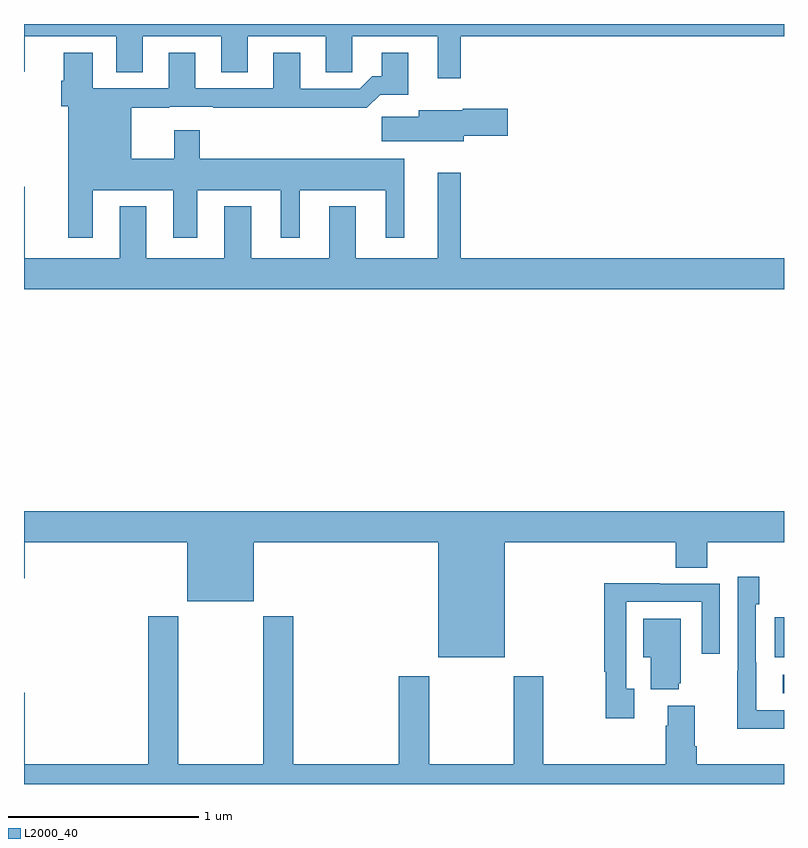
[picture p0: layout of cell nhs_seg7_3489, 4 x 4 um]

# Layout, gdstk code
import gdstk
lib = gdstk.Library(unit=1e-6, precision=1e-09)
def R(c, l, rs):  # rectangles x0, y0, x1, y1
    for r in rs: c.add(gdstk.rectangle(r[:2], r[2:], *l))
def P(c, l, *ps):  # polygons
    for p in ps: c.add(gdstk.Polygon(p, *l))
L2000_40 = (2000, 40)

nhs_seg7_3489 = lib.new_cell('nhs_seg7_3489')
R(nhs_seg7_3489, L2000_40, [(336.993,1010.478,337,1010.574), (336.95,1010.666,337,1010.878)])
P(nhs_seg7_3489, L2000_40, [(333,1013.748),(333.004,1013.748),(333.004,1013.936),(333.485,1013.936),(333.485,1013.746),(333.625,1013.746),(333.625,1013.936),(334.037,1013.936),(334.037,1013.746),(334.177,1013.746),(334.177,1013.936),(334.589,1013.936),(334.589,1013.746),(334.728,1013.746),(334.728,1013.936),(335.177,1013.936),(335.177,1013.715),(335.299,1013.715),(335.299,1013.936),(337,1013.936),(337,1014),(333,1014)],
  [(333.361,1013.126),(333.785,1013.126),(333.785,1012.875),(333.913,1012.875),(333.913,1013.126),(334.352,1013.126),(334.352,1012.875),(334.45,1012.875),(334.45,1013.126),(334.904,1013.126),(334.904,1012.875),(335.002,1012.875),(335.002,1013.29),(333.926,1013.29),(333.926,1013.44),(333.791,1013.44),(333.791,1013.29),(333.565,1013.29),(333.565,1013.56),(333.765,1013.56),(333.765,1013.565),(333.997,1013.565),(333.997,1013.56),(334.549,1013.56),(334.549,1013.558),(334.805,1013.558),(334.874,1013.627),(335.023,1013.627),(335.023,1013.848),(334.883,1013.848),(334.883,1013.725),(334.834,1013.725),(334.767,1013.658),(334.453,1013.658),(334.453,1013.848),(334.313,1013.848),(334.313,1013.661),(333.901,1013.661),(333.901,1013.848),(333.761,1013.848),(333.761,1013.661),(333.361,1013.661),(333.361,1013.848),(333.209,1013.848),(333.209,1013.702),(333.197,1013.702),(333.197,1013.568),(333.233,1013.568),(333.233,1012.875),(333.361,1012.875)],
  [(335.314,1013.411),(335.545,1013.411),(335.545,1013.553),(335.31,1013.553),(335.31,1013.545),(335.078,1013.545),(335.078,1013.513),(334.884,1013.513),(334.884,1013.384),(335.314,1013.384)],
  [(337,1012.768),(335.299,1012.768),(335.299,1013.218),(335.177,1013.218),(335.177,1012.768),(334.747,1012.768),(334.747,1013.041),(334.607,1013.041),(334.607,1012.768),(334.195,1012.768),(334.195,1013.041),(334.055,1013.041),(334.055,1012.768),(333.643,1012.768),(333.643,1013.041),(333.503,1013.041),(333.503,1012.768),(333.004,1012.768),(333.004,1013.143),(333,1013.143),(333,1012.604),(337,1012.604)],
  [(335.53,1011.272),(336.431,1011.272),(336.431,1011.139),(336.596,1011.139),(336.596,1011.272),(337,1011.272),(337,1011.436),(333,1011.436),(333,1011.084),(333.004,1011.084),(333.004,1011.272),(333.86,1011.272),(333.86,1010.963),(334.21,1010.963),(334.21,1011.272),(335.18,1011.272),(335.18,1010.666),(335.53,1010.666)],
  [(337,1010.388),(336.853,1010.388),(336.853,1010.642),(336.852,1010.642),(336.852,1010.946),(336.871,1010.946),(336.871,1011.091),(336.756,1011.091),(336.756,1010.597),(336.754,1010.597),(336.754,1010.291),(337,1010.291)],
  [(336.211,1010.502),(336.171,1010.502),(336.171,1010.958),(336.567,1010.958),(336.567,1010.685),(336.663,1010.685),(336.663,1011.054),(336.347,1011.054),(336.347,1011.056),(336.055,1011.056),(336.055,1010.59),(336.063,1010.59),(336.063,1010.346),(336.211,1010.346)],
  [(334.973,1010.566),(334.973,1010.104),(334.418,1010.104),(334.418,1010.884),(334.258,1010.884),(334.258,1010.104),(333.813,1010.104),(333.813,1010.884),(333.653,1010.884),(333.653,1010.104),(333.004,1010.104),(333.004,1010.479),(333,1010.479),(333,1010),(337,1010),(337,1010.104),(336.542,1010.104),(336.542,1010.2),(336.529,1010.2),(336.529,1010.413),(336.389,1010.413),(336.389,1010.306),(336.377,1010.306),(336.377,1010.104),(335.733,1010.104),(335.733,1010.566),(335.578,1010.566),(335.578,1010.104),(335.133,1010.104),(335.133,1010.566)],
  [(336.446,1010.529),(336.457,1010.529),(336.457,1010.869),(336.26,1010.869),(336.26,1010.666),(336.299,1010.666),(336.299,1010.498),(336.446,1010.498)])

lib.write_gds('nhs_seg7_3489.gds')
